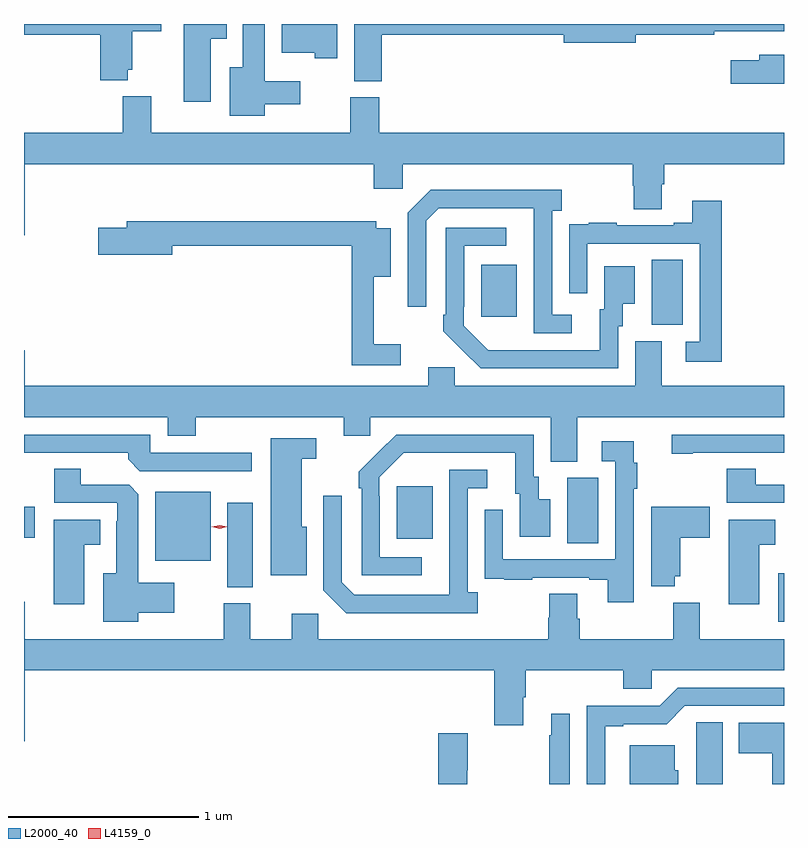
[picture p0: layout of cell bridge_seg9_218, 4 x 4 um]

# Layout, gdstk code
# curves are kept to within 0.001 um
import gdstk
lib = gdstk.Library(unit=1e-6, precision=1e-09)
def R(c, l, rs):  # rectangles x0, y0, x1, y1
    for r in rs: c.add(gdstk.rectangle(r[:2], r[2:], *l))
def P(c, l, *ps):  # polygons
    for p in ps: c.add(gdstk.Polygon(p, *l))
L2000_40 = (2000, 40)
L4159_0 = (4159, 0)

bridge_seg9_218 = lib.new_cell('bridge_seg9_218')
R(bridge_seg9_218, L2000_40, [(157.148,1207.331,157.179,1207.585), (154.25,1207.513,154.384,1207.957), (153.869,1207.652,154.162,1208.014), (156.038,1207.744,156.202,1208.088), (155.141,1207.769,155.329,1208.044), (153.179,1207.774,153.235,1207.936), (156.482,1208.893,156.646,1209.236), (155.585,1208.937,155.773,1209.211)])
P(bridge_seg9_218, L2000_40, [(154.828,1210.477),(154.535,1210.477),(154.535,1210.325),(154.71,1210.325),(154.71,1210.298),(154.828,1210.298)],
  [(153.726,1210.235),(153.748,1210.235),(153.748,1210.438),(153.901,1210.438),(153.901,1210.477),(153.179,1210.477),(153.179,1210.42),(153.581,1210.42),(153.581,1210.181),(153.726,1210.181)],
  [(154.447,1210.055),(154.633,1210.055),(154.633,1210.177),(154.447,1210.177),(154.447,1210.477),(154.331,1210.477),(154.331,1210.249),(154.262,1210.249),(154.262,1209.995),(154.447,1209.995)],
  [(155.063,1210.42),(156.02,1210.42),(156.02,1210.378),(156.4,1210.378),(156.4,1210.42),(156.812,1210.42),(156.812,1210.44),(157.179,1210.44),(157.179,1210.477),(154.916,1210.477),(154.916,1210.177),(155.063,1210.177)],
  [(154.162,1210.4),(154.246,1210.4),(154.246,1210.477),(154.019,1210.477),(154.019,1210.068),(154.162,1210.068)],
  [(157.179,1210.314),(157.049,1210.314),(157.049,1210.285),(156.9,1210.285),(156.9,1210.163),(157.179,1210.163)],
  [(153.184,1209.74),(155.021,1209.74),(155.021,1209.609),(155.172,1209.609),(155.172,1209.74),(156.383,1209.74),(156.383,1209.627),(156.388,1209.627),(156.388,1209.502),(156.535,1209.502),(156.535,1209.634),(156.548,1209.634),(156.548,1209.74),(157.179,1209.74),(157.179,1209.904),(155.048,1209.904),(155.048,1210.092),(154.895,1210.092),(154.895,1209.904),(153.85,1209.904),(153.85,1210.096),(153.698,1210.096),(153.698,1209.904),(153.179,1209.904),(153.179,1209.366),(153.184,1209.366)],
  [(156.061,1208.946),(155.958,1208.946),(155.958,1209.494),(156.01,1209.494),(156.01,1209.604),(155.32,1209.604),(155.199,1209.483),(155.199,1208.988),(155.295,1208.988),(155.295,1209.441),(155.361,1209.507),(155.861,1209.507),(155.862,1208.85),(156.061,1208.85)],
  [(156.851,1209.547),(156.695,1209.547),(156.695,1209.43),(156.599,1209.43),(156.599,1209.417),(156.299,1209.417),(156.299,1209.43),(156.151,1209.43),(156.151,1209.423),(156.049,1209.423),(156.049,1209.314),(156.048,1209.314),(156.048,1209.06),(156.144,1209.06),(156.144,1209.321),(156.735,1209.321),(156.735,1208.805),(156.663,1208.805),(156.663,1208.7),(156.851,1208.7)],
  [(155.161,1208.791),(155.021,1208.791),(155.021,1209.146),(155.11,1209.146),(155.11,1209.403),(155.034,1209.403),(155.034,1209.439),(153.719,1209.439),(153.719,1209.405),(153.57,1209.405),(153.57,1209.263),(153.958,1209.263),(153.958,1209.31),(154.903,1209.31),(154.903,1208.682),(155.161,1208.682)],
  [(156.306,1208.886),(156.331,1208.886),(156.331,1209.005),(156.394,1209.005),(156.394,1209.202),(156.233,1209.202),(156.233,1208.976),(156.209,1208.976),(156.209,1208.76),(155.622,1208.761),(155.493,1208.889),(155.493,1208.989),(155.496,1208.989),(155.496,1209.309),(155.716,1209.309),(155.716,1209.405),(155.4,1209.405),(155.4,1208.947),(155.385,1208.947),(155.385,1208.859),(155.582,1208.664),(156.306,1208.664)],
  [(156.091,1208.408),(157.179,1208.408),(157.179,1208.572),(156.535,1208.572),(156.535,1208.808),(156.395,1208.808),(156.395,1208.572),(155.445,1208.572),(155.445,1208.67),(155.306,1208.67),(155.306,1208.572),(153.184,1208.572),(153.184,1208.761),(153.179,1208.761),(153.179,1208.408),(153.935,1208.408),(153.935,1208.309),(154.083,1208.309),(154.083,1208.408),(154.862,1208.408),(154.862,1208.31),(155.001,1208.31),(155.001,1208.408),(155.951,1208.408),(155.951,1208.173),(156.091,1208.173)],
  [(155.272,1207.671),(155.052,1207.671),(155.052,1207.991),(155.049,1207.991),(155.049,1208.091),(155.178,1208.22),(155.765,1208.22),(155.765,1208.004),(155.789,1208.004),(155.789,1207.779),(155.95,1207.779),(155.95,1207.975),(155.887,1207.975),(155.887,1208.094),(155.862,1208.094),(155.862,1208.316),(155.138,1208.316),(154.941,1208.121),(154.941,1208.033),(154.956,1208.033),(154.956,1207.575),(155.272,1207.575)],
  [(156.7,1208.22),(157.179,1208.22),(157.179,1208.316),(156.588,1208.316),(156.588,1208.215),(156.7,1208.215)],
  [(154.378,1208.22),(153.843,1208.22),(153.843,1208.316),(153.179,1208.316),(153.179,1208.22),(153.728,1208.22),(153.728,1208.186),(153.789,1208.124),(154.378,1208.124)],
  [(154.666,1207.83),(154.642,1207.83),(154.642,1208.19),(154.717,1208.19),(154.717,1208.298),(154.478,1208.298),(154.478,1207.577),(154.666,1207.577)],
  [(156.387,1208.032),(156.407,1208.032),(156.407,1208.168),(156.389,1208.168),(156.389,1208.281),(156.219,1208.281),(156.219,1208.175),(156.291,1208.175),(156.291,1207.659),(155.7,1207.659),(155.7,1207.921),(155.604,1207.921),(155.604,1207.666),(155.605,1207.666),(155.605,1207.557),(155.707,1207.557),(155.707,1207.551),(155.855,1207.551),(155.855,1207.563),(156.155,1207.563),(156.155,1207.551),(156.251,1207.551),(156.251,1207.434),(156.387,1207.434)],
  [(153.781,1207.379),(153.97,1207.379),(153.97,1207.537),(153.781,1207.537),(153.781,1208.003),(153.732,1208.052),(153.478,1208.052),(153.478,1208.135),(153.338,1208.135),(153.338,1207.956),(153.669,1207.956),(153.669,1207.859),(153.665,1207.859),(153.665,1207.585),(153.596,1207.585),(153.596,1207.331),(153.781,1207.331)],
  [(157.179,1208.052),(157.03,1208.052),(157.03,1208.135),(156.878,1208.135),(156.878,1207.956),(157.179,1207.956)],
  [(155.566,1207.486),(155.514,1207.486),(155.514,1208.034),(155.617,1208.034),(155.617,1208.13),(155.418,1208.13),(155.417,1207.473),(154.917,1207.473),(154.851,1207.539),(154.851,1207.993),(154.755,1207.993),(154.755,1207.497),(154.876,1207.376),(155.566,1207.376)],
  [(156.604,1207.571),(156.634,1207.571),(156.634,1207.774),(156.787,1207.774),(156.787,1207.936),(156.479,1207.936),(156.479,1207.517),(156.604,1207.517)],
  [(153.496,1207.736),(153.58,1207.736),(153.58,1207.867),(153.335,1207.867),(153.335,1207.422),(153.496,1207.422)],
  [(157.048,1207.736),(157.132,1207.736),(157.132,1207.867),(156.887,1207.867),(156.887,1207.422),(157.048,1207.422)],
  [(153.184,1207.076),(155.654,1207.076),(155.654,1206.786),(155.806,1206.786),(155.806,1206.934),(155.819,1206.934),(155.819,1207.076),(156.332,1207.076),(156.332,1206.978),(156.483,1206.978),(156.483,1207.076),(157.179,1207.076),(157.179,1207.24),(156.736,1207.24),(156.736,1207.432),(156.596,1207.432),(156.596,1207.24),(156.104,1207.24),(156.104,1207.346),(156.091,1207.346),(156.091,1207.478),(155.944,1207.478),(155.944,1207.353),(155.939,1207.353),(155.939,1207.24),(154.728,1207.24),(154.728,1207.372),(154.589,1207.372),(154.589,1207.24),(154.369,1207.24),(154.369,1207.428),(154.229,1207.428),(154.229,1207.24),(153.184,1207.24),(153.184,1207.435),(153.179,1207.435),(153.179,1206.702),(153.184,1206.702)],
  [(156.238,1206.78),(156.334,1206.78),(156.334,1206.792),(156.561,1206.792),(156.657,1206.888),(157.179,1206.888),(157.179,1206.984),(156.621,1206.984),(156.525,1206.888),(156.141,1206.888),(156.141,1206.477),(156.238,1206.477)],
  [(156.051,1206.847),(155.954,1206.847),(155.954,1206.734),(155.943,1206.734),(155.943,1206.477),(156.051,1206.477)],
  [(156.856,1206.803),(156.717,1206.803),(156.717,1206.692),(156.716,1206.692),(156.716,1206.477),(156.856,1206.477)],
  [(157.179,1206.799),(156.941,1206.799),(156.941,1206.64),(157.118,1206.64),(157.118,1206.477),(157.179,1206.477)],
  [(155.512,1206.55),(155.514,1206.55),(155.514,1206.745),(155.36,1206.745),(155.36,1206.477),(155.512,1206.477)],
  [(156.622,1206.549),(156.604,1206.549),(156.604,1206.682),(156.368,1206.682),(156.368,1206.477),(156.622,1206.477)])
P(bridge_seg9_218, L4159_0, [(154.208,1207.82),(154.168,1207.83),(154.168,1207.83),(154.168,1207.83),(154.208,1207.84),(154.248,1207.83),(154.248,1207.83),(154.248,1207.83)])

lib.write_gds('bridge_seg9_218.gds')
